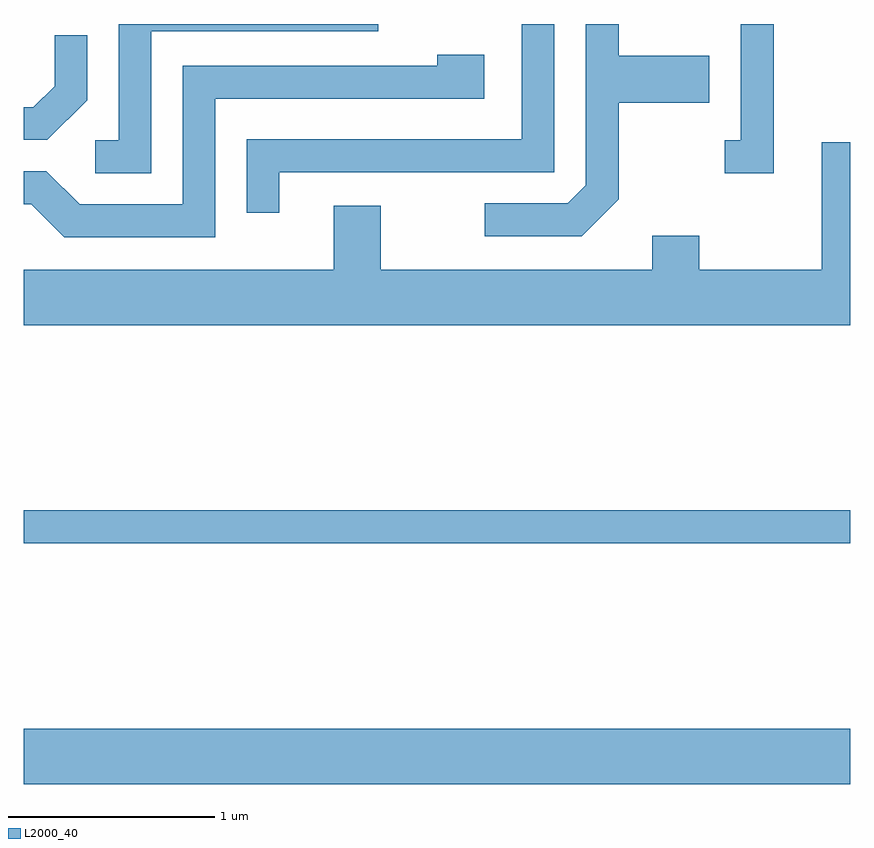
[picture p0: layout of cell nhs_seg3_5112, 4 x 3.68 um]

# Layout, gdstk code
import gdstk
lib = gdstk.Library(unit=1e-6, precision=1e-09)
def R(c, l, rs):  # rectangles x0, y0, x1, y1
    for r in rs: c.add(gdstk.rectangle(r[:2], r[2:], *l))
def P(c, l, *ps):  # polygons
    for p in ps: c.add(gdstk.Polygon(p, *l))
L2000_40 = (2000, 40)

nhs_seg3_5112 = lib.new_cell('nhs_seg3_5112')
R(nhs_seg3_5112, L2000_40, [(335.611,1148.216,339.611,1148.484), (335.611,1149.381,339.611,1149.539)])
P(nhs_seg3_5112, L2000_40, [(336.229,1151.856),(337.328,1151.856),(337.328,1151.892),(336.071,1151.892),(336.071,1151.329),(335.958,1151.329),(335.958,1151.171),(336.229,1151.171)],
  [(336.849,1151.176),(338.179,1151.176),(338.179,1151.892),(338.021,1151.892),(338.021,1151.334),(336.691,1151.334),(336.691,1150.978),(336.849,1150.978)],
  [(338.489,1151.044),(338.489,1151.511),(338.929,1151.511),(338.929,1151.739),(338.489,1151.739),(338.489,1151.892),(338.331,1151.892),(338.331,1151.112),(338.244,1151.024),(337.843,1151.024),(337.843,1150.866),(338.312,1150.866)],
  [(339.239,1151.892),(339.081,1151.892),(339.081,1151.329),(339.003,1151.329),(339.003,1151.171),(339.239,1151.171)],
  [(335.919,1151.524),(335.919,1151.838),(335.761,1151.838),(335.761,1151.592),(335.659,1151.489),(335.611,1151.489),(335.611,1151.331),(335.727,1151.331)],
  [(336.539,1151.531),(337.839,1151.531),(337.839,1151.744),(337.611,1151.744),(337.611,1151.689),(336.381,1151.689),(336.381,1151.019),(335.882,1151.019),(335.722,1151.179),(335.611,1151.179),(335.611,1151.021),(335.649,1151.021),(335.809,1150.861),(336.539,1150.861)],
  [(339.611,1151.319),(339.471,1151.319),(339.471,1150.704),(338.879,1150.704),(338.879,1150.869),(338.651,1150.869),(338.651,1150.704),(337.339,1150.704),(337.339,1151.014),(337.111,1151.014),(337.111,1150.704),(335.611,1150.704),(335.611,1150.436),(339.611,1150.436)])

lib.write_gds('nhs_seg3_5112.gds')
